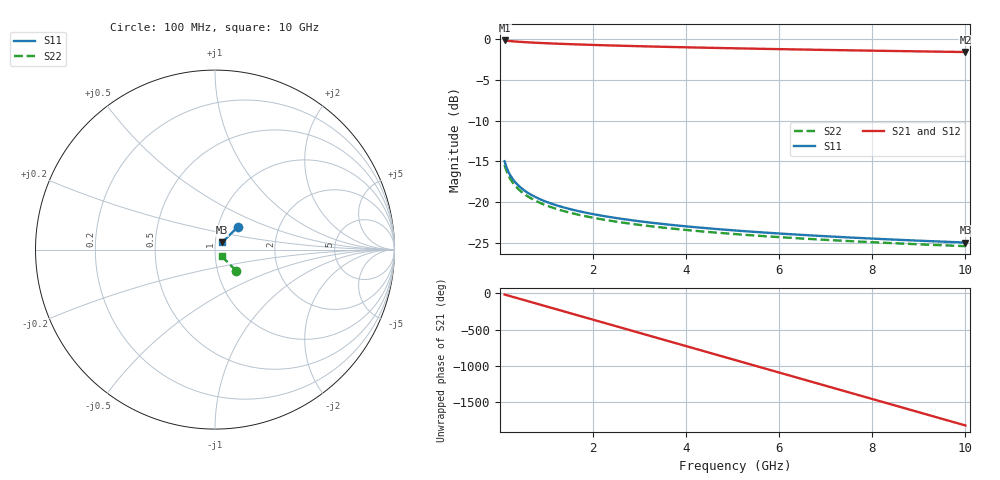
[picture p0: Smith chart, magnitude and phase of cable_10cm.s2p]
! Synthetic 10cm cable S-parameters
! Generated for Oscura demonstration
! Length: 10 cm, characteristic impedance: 50 Ohm
! Loss: 0.05 dB/cm @ 1 GHz
# Hz S MA R 50
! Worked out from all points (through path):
!   50 points, 100 MHz to 10 GHz, reference 50 ohm
!   highest |S21| = -0.16 dB at 100 MHz (marker M1); lowest = -1.6 dB at 10 GHz (marker M2)
!   lowest |S11| = -25.0 dB at 10 GHz (marker M3), VSWR 1.12, Z = 54 + j4.31 ohm
!   |S11| at or under -10 dB: start of sweep to end of sweep
!   |S22| runs from -25.4 to -15.4 dB; largest |S21 - S12| = 0
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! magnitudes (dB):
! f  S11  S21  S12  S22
! 100 MHz  -15.0  -0.2  -0.2  -15.4
! 132.6 MHz  -15.6  -0.2  -0.2  -16.1
! 175.8 MHz  -16.2  -0.2  -0.2  -16.7
! 233 MHz  -16.8  -0.2  -0.2  -17.3
! 281.2 MHz  -17.2  -0.3  -0.3  -17.7
! 339.3 MHz  -17.7  -0.3  -0.3  -18.1
! 409.5 MHz  -18.1  -0.3  -0.3  -18.5
! 494.2 MHz  -18.5  -0.4  -0.4  -18.9
! 596.4 MHz  -18.9  -0.4  -0.4  -19.3
! 719.7 MHz  -19.3  -0.4  -0.4  -19.7
! 868.5 MHz  -19.7  -0.5  -0.5  -20.1
! 1.151 GHz  -20.3  -0.5  -0.5  -20.8
! 1.526 GHz  -20.9  -0.6  -0.6  -21.4
! 1.842 GHz  -21.3  -0.7  -0.7  -21.8
! 2.223 GHz  -21.7  -0.7  -0.7  -22.2
! 2.683 GHz  -22.1  -0.8  -0.8  -22.6
! 3.556 GHz  -22.8  -0.9  -0.9  -23.2
! 4.292 GHz  -23.2  -1.0  -1.0  -23.6
! 5.179 GHz  -23.6  -1.1  -1.1  -24.0
! 6.866 GHz  -24.2  -1.3  -1.3  -24.6
! 9.103 GHz  -24.8  -1.5  -1.5  -25.2
! 10 GHz  -25.0  -1.6  -1.6  -25.4
